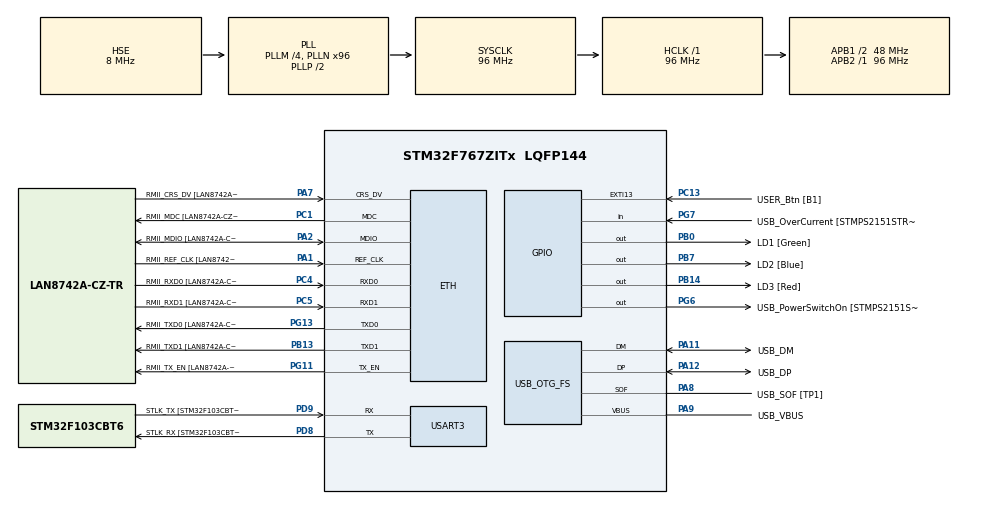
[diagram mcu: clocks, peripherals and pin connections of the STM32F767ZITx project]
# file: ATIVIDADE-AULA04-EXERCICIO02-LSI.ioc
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ETH.MediaInterface=HAL_ETH_RMII_MODE
ETH.PHY_Name=LAN8742A_PHY_ADDRESS
ETH.PHY_Value=0
ETH.PhyAddress=0
FREERTOS.CountingSemaphores01=MeuSemaforoCont,9,Dynamic,NULL,0
FREERTOS.Tasks01=vTask01,24,128,vTask01_Def,Default,NULL,Dynamic,NULL,NULL;vTask02,24,128,vTask02_Def,Default,NULL,Dynamic,NULL,NULL;vTask03,24,128,vTask03_Def,Default,NULL,Dynamic,NULL,NULL
FREERTOS.configUSE_NEWLIB_REENTRANT=1
Mcu.Family=STM32F7
Mcu.Name=STM32F767ZITx
Mcu.Package=LQFP144
NVIC.EXTI15_10_IRQn=true\:5\:0\:false\:false\:true\:true\:true\:true\:true
NVIC.PriorityGroup=NVIC_PRIORITYGROUP_4
NVIC.TIM1_UP_TIM10_IRQn=true\:15\:0\:false\:false\:true\:false\:false\:true\:true
NVIC.TimeBase=TIM1_UP_TIM10_IRQn
NVIC.TimeBaseIP=TIM1
PA1.GPIO_Label=RMII_REF_CLK [LAN8742A-CZ-TR_REFCLK0]
PA1.Mode=RMII
PA1.Signal=ETH_REF_CLK
PA10.GPIO_Label=USB_ID
PA10.Signal=USB_OTG_FS_ID
PA11.GPIO_Label=USB_DM
PA11.Mode=Device_Only
PA11.Signal=USB_OTG_FS_DM
PA12.GPIO_Label=USB_DP
PA12.Mode=Device_Only
PA12.Signal=USB_OTG_FS_DP
PA13.GPIO_Label=TMS
PA13.Mode=Serial_Wire
PA13.Signal=SYS_JTMS-SWDIO
PA14.GPIO_Label=TCK
PA14.Mode=Serial_Wire
PA14.Signal=SYS_JTCK-SWCLK
PA2.GPIO_Label=RMII_MDIO [LAN8742A-CZ-TR_MDIO]
PA2.Mode=RMII
PA2.Signal=ETH_MDIO
PA7.GPIO_Label=RMII_CRS_DV [LAN8742A-CZ-TR_CRS_DV]
PA7.Mode=RMII
PA7.Signal=ETH_CRS_DV
PA8.GPIO_Label=USB_SOF [TP1]
PA8.Mode=Activate_SOF_FS
PA8.Signal=USB_OTG_FS_SOF
PA9.GPIO_Label=USB_VBUS
PA9.Mode=Activate_VBUS
PA9.Signal=USB_OTG_FS_VBUS
PB0.GPIO_Label=LD1 [Green]
PB0.Signal=GPIO_Output
PB13.GPIO_Label=RMII_TXD1 [LAN8742A-CZ-TR_TXD1]
PB13.Mode=RMII
PB13.Signal=ETH_TXD1
PB14.GPIO_Label=LD3 [Red]
PB14.Signal=GPIO_Output
PB3.GPIO_Label=SWO
PB3.Signal=SYS_JTDO-SWO
PB7.GPIO_Label=LD2 [Blue]
PB7.Signal=GPIO_Output
PC1.GPIO_Label=RMII_MDC [LAN8742A-CZ-TR_MDC]
PC1.Mode=RMII
PC1.Signal=ETH_MDC
PC13.GPIO_Label=USER_Btn [B1]
PC13.Signal=GPXTI13
PC14/OSC32_IN.Mode=LSE-External-Oscillator
PC14/OSC32_IN.Signal=RCC_OSC32_IN
PC15/OSC32_OUT.Mode=LSE-External-Oscillator
PC15/OSC32_OUT.Signal=RCC_OSC32_OUT
PC4.GPIO_Label=RMII_RXD0 [LAN8742A-CZ-TR_RXD0]
PC4.Mode=RMII
PC4.Signal=ETH_RXD0
PC5.GPIO_Label=RMII_RXD1 [LAN8742A-CZ-TR_RXD1]
PC5.Mode=RMII
PC5.Signal=ETH_RXD1
PD8.GPIO_Label=STLK_RX [STM32F103CBT6_PA3]
PD8.Mode=Asynchronous
PD8.Signal=USART3_TX
PD9.GPIO_Label=STLK_TX [STM32F103CBT6_PA2]
PD9.Mode=Asynchronous
PD9.Signal=USART3_RX
PG11.GPIO_Label=RMII_TX_EN [LAN8742A-CZ-TR_TXEN]
PG11.Mode=RMII
PG11.Signal=ETH_TX_EN
PG13.GPIO_Label=RMII_TXD0 [LAN8742A-CZ-TR_TXD0]
PG13.Mode=RMII
PG13.Signal=ETH_TXD0
PG6.GPIO_Label=USB_PowerSwitchOn [STMPS2151STR_EN]
PG6.Signal=GPIO_Output
PG7.GPIO_Label=USB_OverCurrent [STMPS2151STR_FAULT]
PG7.Signal=GPIO_Input
PH0/OSC_IN.GPIO_Label=MCO [STM32F103CBT6_PA8]
PH0/OSC_IN.Mode=HSE-External-Clock-Source
PH0/OSC_IN.Signal=RCC_OSC_IN
PH1/OSC_OUT.Mode=HSE-External-Clock-Source
PH1/OSC_OUT.Signal=RCC_OSC_OUT
ProjectManager.HeapSize=0x200
ProjectManager.StackSize=0x400
ProjectManager.TargetToolchain=STM32CubeIDE
RCC.48MHZClocksFreq_Value=24000000
RCC.AHBFreq_Value=96000000
RCC.APB1CLKDivider=RCC_HCLK_DIV2
RCC.APB1Freq_Value=48000000
RCC.APB1TimFreq_Value=96000000
RCC.APB2Freq_Value=96000000
RCC.APB2TimFreq_Value=96000000
RCC.CortexFreq_Value=96000000
RCC.HCLKFreq_Value=96000000
RCC.HSE_VALUE=8000000
RCC.HSI_VALUE=16000000
RCC.PLLM=4
RCC.PLLMUL=RCC_PLL_MUL9
RCC.PLLN=96
RCC.PLLQ=4
RCC.PRESCALERUSB=RCC_USBCLKSOURCE_PLL_DIV1_5
RCC.SYSCLKFreq_VALUE=96000000
RCC.SYSCLKSource=RCC_SYSCLKSOURCE_PLLCLK
RCC.SYSCLKSourceVirtual=RCC_SYSCLKSOURCE_PLLCLK
RCC.USBFreq_Value=48000000
RCC.VCOOutputFreq_Value=192000000
USART3.VirtualMode-Asynchronous=VM_ASYNC
USB_OTG_FS.VirtualMode=Device_Only
VP_FREERTOS_VS_CMSIS_V2.Mode=CMSIS_V2
VP_SYS_VS_tim1.Mode=TIM1
board=NUCLEO-F767ZI

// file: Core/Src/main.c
/* USER CODE BEGIN Header */
/**
  ******************************************************************************
  * @file           : main.c
  * @brief          : Main program body
  ******************************************************************************
  * @attention
  *
  * Copyright (c) 2025 STMicroelectronics.
  * All rights reserved.
  *
  * This software is licensed under terms that can be found in the LICENSE file
  * in the root directory of this software component.
  * If no LICENSE file comes with this software, it is provided AS-IS.
  *
  ******************************************************************************
  */
/* USER CODE END Header */
#include "main.h"
#include "string.h"
#include "cmsis_os.h"

/* USER CODE BEGIN Includes */

#include <stdio.h>

/* USER CODE END Includes */

#if defined ( __ICCARM__ ) /*!< IAR Compiler */
#pragma location=0x2007c000
ETH_DMADescTypeDef  DMARxDscrTab[ETH_RX_DESC_CNT]; /* Ethernet Rx DMA Descriptors */
#pragma location=0x2007c0a0
ETH_DMADescTypeDef  DMATxDscrTab[ETH_TX_DESC_CNT]; /* Ethernet Tx DMA Descriptors */

#elif defined ( __CC_ARM )  /* MDK ARM Compiler */

__attribute__((at(0x2007c000))) ETH_DMADescTypeDef  DMARxDscrTab[ETH_RX_DESC_CNT]; /* Ethernet Rx DMA Descriptors */
__attribute__((at(0x2007c0a0))) ETH_DMADescTypeDef  DMATxDscrTab[ETH_TX_DESC_CNT]; /* Ethernet Tx DMA Descriptors */

#elif defined ( __GNUC__ ) /* GNU Compiler */

ETH_DMADescTypeDef DMARxDscrTab[ETH_RX_DESC_CNT] __attribute__((section(".RxDecripSection"))); /* Ethernet Rx DMA Descriptors */
ETH_DMADescTypeDef DMATxDscrTab[ETH_TX_DESC_CNT] __attribute__((section(".TxDecripSection")));   /* Ethernet Tx DMA Descriptors */
#endif

ETH_TxPacketConfig TxConfig;

ETH_HandleTypeDef heth;

UART_HandleTypeDef huart3;

PCD_HandleTypeDef hpcd_USB_OTG_FS;

/* Definitions for vTask01 */
osThreadId_t vTask01Handle;
const osThreadAttr_t vTask01_attributes = {
  .name = "vTask01",
  .stack_size = 128 * 4,
  .priority = (osPriority_t) osPriorityNormal,
};
/* Definitions for vTask02 */
osThreadId_t vTask02Handle;
const osThreadAttr_t vTask02_attributes = {
  .name = "vTask02",
  .stack_size = 128 * 4,
  .priority = (osPriority_t) osPriorityNormal,
};
/* Definitions for vTask03 */
osThreadId_t vTask03Handle;
const osThreadAttr_t vTask03_attributes = {
  .name = "vTask03",
  .stack_size = 128 * 4,
  .priority = (osPriority_t) osPriorityNormal,
};
/* Definitions for MeuSemaforoCont */
osSemaphoreId_t MeuSemaforoContHandle;
const osSemaphoreAttr_t MeuSemaforoCont_attributes = {
  .name = "MeuSemaforoCont"
};
/* USER CODE BEGIN PV */

uint8_t contadorSemarofoContador = 0;

/* USER CODE END PV */

void SystemClock_Config(void);
static void MX_GPIO_Init(void);
static void MX_ETH_Init(void);
static void MX_USART3_UART_Init(void);
static void MX_USB_OTG_FS_PCD_Init(void);
void vTask01_Def(void *argument);
void vTask02_Def(void *argument);
void vTask03_Def(void *argument);

int main(void)
{

  /* MCU Configuration--------------------------------------------------------*/

  /* Reset of all peripherals, Initializes the Flash interface and the Systick. */
  HAL_Init();

  /* Configure the system clock */
  SystemClock_Config();

  /* Initialize all configured peripherals */
  MX_GPIO_Init();
  MX_ETH_Init();
  MX_USART3_UART_Init();
  MX_USB_OTG_FS_PCD_Init();

  /* Init scheduler */
  osKernelInitialize();

  /* Create the semaphores(s) */
  /* creation of MeuSemaforoCont */
  MeuSemaforoContHandle = osSemaphoreNew(9, 0, &MeuSemaforoCont_attributes);

  /* Create the thread(s) */
  /* creation of vTask01 */
  vTask01Handle = osThreadNew(vTask01_Def, NULL, &vTask01_attributes);

  /* creation of vTask02 */
  vTask02Handle = osThreadNew(vTask02_Def, NULL, &vTask02_attributes);

  /* creation of vTask03 */
  vTask03Handle = osThreadNew(vTask03_Def, NULL, &vTask03_attributes);

  /* Start scheduler */
  osKernelStart();

  /* We should never get here as control is now taken by the scheduler */

  /* Infinite loop */
  while (1)
  {

  }
}

void SystemClock_Config(void)
{
  RCC_OscInitTypeDef RCC_OscInitStruct = {0};
  RCC_ClkInitTypeDef RCC_ClkInitStruct = {0};

  /** Configure LSE Drive Capability
  */
  HAL_PWR_EnableBkUpAccess();

  /** Configure the main internal regulator output voltage
  */
  __HAL_RCC_PWR_CLK_ENABLE();
  __HAL_PWR_VOLTAGESCALING_CONFIG(PWR_REGULATOR_VOLTAGE_SCALE3);

  /** Initializes the RCC Oscillators according to the specified parameters
  * in the RCC_OscInitTypeDef structure.
  */
  RCC_OscInitStruct.OscillatorType = RCC_OSCILLATORTYPE_HSE;
  RCC_OscInitStruct.HSEState = RCC_HSE_BYPASS;
  RCC_OscInitStruct.PLL.PLLState = RCC_PLL_ON;
  RCC_OscInitStruct.PLL.PLLSource = RCC_PLLSOURCE_HSE;
  RCC_OscInitStruct.PLL.PLLM = 4;
  RCC_OscInitStruct.PLL.PLLN = 96;
  RCC_OscInitStruct.PLL.PLLP = RCC_PLLP_DIV2;
  RCC_OscInitStruct.PLL.PLLQ = 4;
  RCC_OscInitStruct.PLL.PLLR = 2;
  if (HAL_RCC_OscConfig(&RCC_OscInitStruct) != HAL_OK)
  {
    Error_Handler();
  }

  /** Activate the Over-Drive mode
  */
  if (HAL_PWREx_EnableOverDrive() != HAL_OK)
  {
    Error_Handler();
  }

  /** Initializes the CPU, AHB and APB buses clocks
  */
  RCC_ClkInitStruct.ClockType = RCC_CLOCKTYPE_HCLK|RCC_CLOCKTYPE_SYSCLK
                              |RCC_CLOCKTYPE_PCLK1|RCC_CLOCKTYPE_PCLK2;
  RCC_ClkInitStruct.SYSCLKSource = RCC_SYSCLKSOURCE_PLLCLK;
  RCC_ClkInitStruct.AHBCLKDivider = RCC_SYSCLK_DIV1;
  RCC_ClkInitStruct.APB1CLKDivider = RCC_HCLK_DIV2;
  RCC_ClkInitStruct.APB2CLKDivider = RCC_HCLK_DIV1;

  if (HAL_RCC_ClockConfig(&RCC_ClkInitStruct, FLASH_LATENCY_3) != HAL_OK)
  {
    Error_Handler();
  }
}

static void MX_ETH_Init(void)
{

   static uint8_t MACAddr[6];

  heth.Instance = ETH;
  MACAddr[0] = 0x00;
  MACAddr[1] = 0x80;
  MACAddr[2] = 0xE1;
  MACAddr[3] = 0x00;
  MACAddr[4] = 0x00;
  MACAddr[5] = 0x00;
  heth.Init.MACAddr = &MACAddr[0];
  heth.Init.MediaInterface = HAL_ETH_RMII_MODE;
  heth.Init.TxDesc = DMATxDscrTab;
  heth.Init.RxDesc = DMARxDscrTab;
  heth.Init.RxBuffLen = 1524;

  if (HAL_ETH_Init(&heth) != HAL_OK)
  {
    Error_Handler();
  }

  memset(&TxConfig, 0 , sizeof(ETH_TxPacketConfig));
  TxConfig.Attributes = ETH_TX_PACKETS_FEATURES_CSUM | ETH_TX_PACKETS_FEATURES_CRCPAD;
  TxConfig.ChecksumCtrl = ETH_CHECKSUM_IPHDR_PAYLOAD_INSERT_PHDR_CALC;
  TxConfig.CRCPadCtrl = ETH_CRC_PAD_INSERT;

}

static void MX_USART3_UART_Init(void)
{

  huart3.Instance = USART3;
  huart3.Init.BaudRate = 115200;
  huart3.Init.WordLength = UART_WORDLENGTH_8B;
  huart3.Init.StopBits = UART_STOPBITS_1;
  huart3.Init.Parity = UART_PARITY_NONE;
  huart3.Init.Mode = UART_MODE_TX_RX;
  huart3.Init.HwFlowCtl = UART_HWCONTROL_NONE;
  huart3.Init.OverSampling = UART_OVERSAMPLING_16;
  huart3.Init.OneBitSampling = UART_ONE_BIT_SAMPLE_DISABLE;
  huart3.AdvancedInit.AdvFeatureInit = UART_ADVFEATURE_NO_INIT;
  if (HAL_UART_Init(&huart3) != HAL_OK)
  {
    Error_Handler();
  }

}

static void MX_USB_OTG_FS_PCD_Init(void)
{

  hpcd_USB_OTG_FS.Instance = USB_OTG_FS;
  hpcd_USB_OTG_FS.Init.dev_endpoints = 6;
  hpcd_USB_OTG_FS.Init.speed = PCD_SPEED_FULL;
  hpcd_USB_OTG_FS.Init.dma_enable = DISABLE;
  hpcd_USB_OTG_FS.Init.phy_itface = PCD_PHY_EMBEDDED;
  hpcd_USB_OTG_FS.Init.Sof_enable = ENABLE;
  hpcd_USB_OTG_FS.Init.low_power_enable = DISABLE;
  hpcd_USB_OTG_FS.Init.lpm_enable = DISABLE;
  hpcd_USB_OTG_FS.Init.vbus_sensing_enable = ENABLE;
  hpcd_USB_OTG_FS.Init.use_dedicated_ep1 = DISABLE;
  if (HAL_PCD_Init(&hpcd_USB_OTG_FS) != HAL_OK)
  {
    Error_Handler();
  }

}

static void MX_GPIO_Init(void)
{
  GPIO_InitTypeDef GPIO_InitStruct = {0};

  /* GPIO Ports Clock Enable */
  __HAL_RCC_GPIOC_CLK_ENABLE();
  __HAL_RCC_GPIOH_CLK_ENABLE();
  __HAL_RCC_GPIOA_CLK_ENABLE();
  __HAL_RCC_GPIOB_CLK_ENABLE();
  __HAL_RCC_GPIOD_CLK_ENABLE();
  __HAL_RCC_GPIOG_CLK_ENABLE();

  /*Configure GPIO pin Output Level */
  HAL_GPIO_WritePin(GPIOB, LD1_Pin|LD3_Pin|LD2_Pin, GPIO_PIN_RESET);

  /*Configure GPIO pin Output Level */
  HAL_GPIO_WritePin(USB_PowerSwitchOn_GPIO_Port, USB_PowerSwitchOn_Pin, GPIO_PIN_RESET);

  /*Configure GPIO pin : USER_Btn_Pin */
  GPIO_InitStruct.Pin = USER_Btn_Pin;
  GPIO_InitStruct.Mode = GPIO_MODE_IT_RISING;
  GPIO_InitStruct.Pull = GPIO_NOPULL;
  HAL_GPIO_Init(USER_Btn_GPIO_Port, &GPIO_InitStruct);

  /*Configure GPIO pins : LD1_Pin LD3_Pin LD2_Pin */
  GPIO_InitStruct.Pin = LD1_Pin|LD3_Pin|LD2_Pin;
  GPIO_InitStruct.Mode = GPIO_MODE_OUTPUT_PP;
  GPIO_InitStruct.Pull = GPIO_NOPULL;
  GPIO_InitStruct.Speed = GPIO_SPEED_FREQ_LOW;
  HAL_GPIO_Init(GPIOB, &GPIO_InitStruct);

  /*Configure GPIO pin : USB_PowerSwitchOn_Pin */
  GPIO_InitStruct.Pin = USB_PowerSwitchOn_Pin;
  GPIO_InitStruct.Mode = GPIO_MODE_OUTPUT_PP;
  GPIO_InitStruct.Pull = GPIO_NOPULL;
  GPIO_InitStruct.Speed = GPIO_SPEED_FREQ_LOW;
  HAL_GPIO_Init(USB_PowerSwitchOn_GPIO_Port, &GPIO_InitStruct);

  /*Configure GPIO pin : USB_OverCurrent_Pin */
  GPIO_InitStruct.Pin = USB_OverCurrent_Pin;
  GPIO_InitStruct.Mode = GPIO_MODE_INPUT;
  GPIO_InitStruct.Pull = GPIO_NOPULL;
  HAL_GPIO_Init(USB_OverCurrent_GPIO_Port, &GPIO_InitStruct);

  /* EXTI interrupt init*/
  HAL_NVIC_SetPriority(EXTI15_10_IRQn, 5, 0);
  HAL_NVIC_EnableIRQ(EXTI15_10_IRQn);

}

/* USER CODE BEGIN 4 */

void HAL_GPIO_EXTI_Callback(uint16_t GPIO_Pin) {

	if (GPIO_Pin == GPIO_PIN_13) {
		while (osSemaphoreGetCount(MeuSemaforoContHandle) < 9) {
			osSemaphoreRelease(MeuSemaforoContHandle);
		}
	}
}

/* USER CODE END 4 */

void vTask01_Def(void *argument)
{
  /* USER CODE BEGIN 5 */
	char mensagem[50];
  /* Infinite loop */
  for(;;)
  {
	//Pegando a contagem do Semáforo
	contadorSemarofoContador = osSemaphoreGetCount(MeuSemaforoContHandle);

	//Solicitando ao semáforo a execução da tarefa
	osSemaphoreAcquire(MeuSemaforoContHandle, osWaitForever);

	sprintf(mensagem, "Contagem do semaforo Task1: %lu\r\n", contadorSemarofoContador);
	HAL_UART_Transmit(&huart3, (uint8_t*)mensagem, strlen(mensagem), HAL_MAX_DELAY);
	osDelay(1800);

	//Liberando o espaço no semáforo para outras tarefas serem executadas
//	osSemaphoreRelease(MeuSemaforoContHandle);
  }
  /* USER CODE END 5 */
}

void vTask02_Def(void *argument)
{
  /* USER CODE BEGIN vTask02_Def */
	char mensagem[50];
  /* Infinite loop */
  for(;;)
  {
	//Pegando a contagem do Semáforo
	contadorSemarofoContador = osSemaphoreGetCount(MeuSemaforoContHandle);

	//Solicitando ao semáforo a execução da tarefa
	osSemaphoreAcquire(MeuSemaforoContHandle, osWaitForever);

	sprintf(mensagem, "Contagem do semaforo Task2: %lu\r\n", contadorSemarofoContador);
	HAL_UART_Transmit(&huart3, (uint8_t*)mensagem, strlen(mensagem), HAL_MAX_DELAY);
	osDelay(1900);

	//Liberando o espaço no semáforo para outras tarefas serem executadas
//	osSemaphoreRelease(MeuSemaforoContHandle);
  }
  /* USER CODE END vTask02_Def */
}

void vTask03_Def(void *argument)
{
  /* USER CODE BEGIN vTask03_Def */
	char mensagem[50];
  /* Infinite loop */
  for(;;)
  {
	//Pegando a contagem do Semáforo
	contadorSemarofoContador = osSemaphoreGetCount(MeuSemaforoContHandle);

	//Solicitando ao semáforo a execução da tarefa
	osSemaphoreAcquire(MeuSemaforoContHandle, osWaitForever);

	sprintf(mensagem, "Contagem do semaforo Task3: %lu\r\n", contadorSemarofoContador);
	HAL_UART_Transmit(&huart3, (uint8_t*)mensagem, strlen(mensagem), HAL_MAX_DELAY);
	osDelay(2000);

	//Liberando o espaço no semáforo para outras tarefas serem executadas
//	osSemaphoreRelease(MeuSemaforoContHandle);
  }
  /* USER CODE END vTask03_Def */
}

void HAL_TIM_PeriodElapsedCallback(TIM_HandleTypeDef *htim)
{
  if (htim->Instance == TIM1)
  {
    HAL_IncTick();
  }
}

void Error_Handler(void)
{
  __disable_irq();
  while (1)
  {
  }
}
